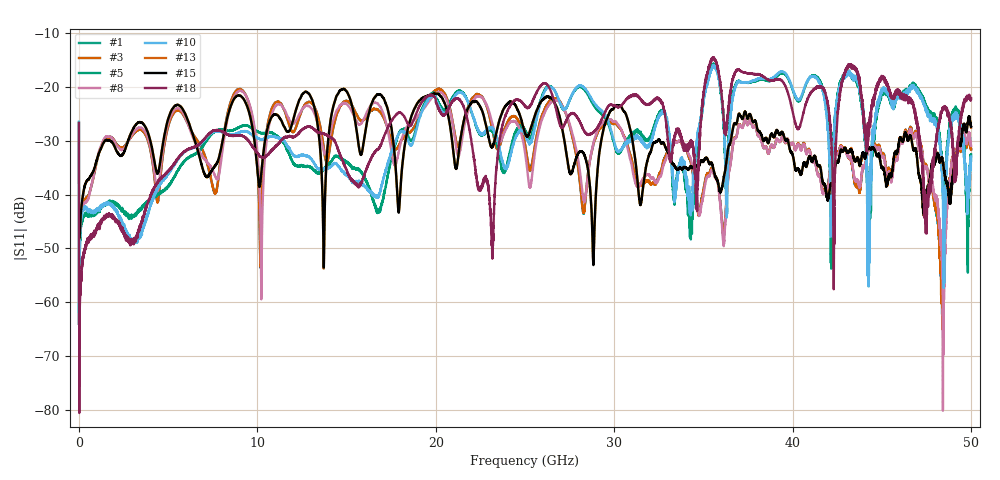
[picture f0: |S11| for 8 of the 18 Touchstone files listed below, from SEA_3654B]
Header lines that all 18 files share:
!Created with skrf (http://scikit-rf.org).
# Hz S RI R 50.0
!freq ReS11 ImS11
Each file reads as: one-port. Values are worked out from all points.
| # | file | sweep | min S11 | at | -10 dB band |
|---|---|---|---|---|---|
| 1 | 3654B_FF_3654B_MTERM1_8510C_mate1_swp0.s1p | 45 MHz to 50 GHz | -62.3 dB | 48.38 GHz | over 49.95 GHz wide |
| 2 | 3654B_FF_3654B_MTERM1_8510C_mate1_swp1.s1p | 45 MHz to 50 GHz | -60.3 dB | 48.39 GHz | over 49.95 GHz wide |
| 3 | 3654B_FF_3654B_MTERM1_8510C_mate1_swp2.s1p | 45 MHz to 50 GHz | -65.0 dB | 48.38 GHz | over 49.95 GHz wide |
| 4 | 3654B_FF_3654B_MTERM1_FieldFox_mate1_swp0.s1p | 300 kHz to 50 GHz | -63.3 dB | 42.16 GHz | over 50 GHz wide |
| 5 | 3654B_FF_3654B_MTERM1_FieldFox_mate1_swp1.s1p | 300 kHz to 50 GHz | -64.2 dB | 5.3 MHz | over 50 GHz wide |
| 6 | 3654B_FF_3654B_MTERM1_FieldFox_mate1_swp2.s1p | 300 kHz to 50 GHz | -63.4 dB | 5.3 MHz | over 50 GHz wide |
| 7 | 3654B_FF_3654B_MTERM2_8510C_mate1_swp0.s1p | 45 MHz to 50 GHz | -65.4 dB | 48.42 GHz | over 49.95 GHz wide |
| 8 | 3654B_FF_3654B_MTERM2_8510C_mate1_swp1.s1p | 45 MHz to 50 GHz | -80.1 dB | 48.42 GHz | over 49.95 GHz wide |
| 9 | 3654B_FF_3654B_MTERM2_8510C_mate1_swp2.s1p | 45 MHz to 50 GHz | -67.5 dB | 48.42 GHz | over 49.95 GHz wide |
| 10 | 3654B_FF_3654B_MTERM2_FieldFox_mate1_swp0.s1p | 300 kHz to 50 GHz | -62.0 dB | 5.3 MHz | over 50 GHz wide |
| 11 | 3654B_FF_3654B_MTERM2_FieldFox_mate1_swp1.s1p | 300 kHz to 50 GHz | -66.1 dB | 5.3 MHz | over 50 GHz wide |
| 12 | 3654B_FF_3654B_MTERM2_FieldFox_mate1_swp2.s1p | 300 kHz to 50 GHz | -64.4 dB | 5.3 MHz | over 50 GHz wide |
| 13 | 3654B_FF_85056A_MBBLOAD_8510C_mate1_swp0.s1p | 45 MHz to 50 GHz | -53.8 dB | 13.72 GHz | over 49.95 GHz wide |
| 14 | 3654B_FF_85056A_MBBLOAD_8510C_mate1_swp1.s1p | 45 MHz to 50 GHz | -54.7 dB | 13.72 GHz | over 49.95 GHz wide |
| 15 | 3654B_FF_85056A_MBBLOAD_8510C_mate1_swp2.s1p | 45 MHz to 50 GHz | -53.6 dB | 13.72 GHz | over 49.95 GHz wide |
| 16 | 3654B_FF_85056A_MBBLOAD_FieldFox_mate1_swp0.s1p | 300 kHz to 50 GHz | -66.3 dB | 35.3 MHz | over 50 GHz wide |
| 17 | 3654B_FF_85056A_MBBLOAD_FieldFox_mate1_swp1.s1p | 300 kHz to 50 GHz | -70.0 dB | 20.3 MHz | over 50 GHz wide |
| 18 | 3654B_FF_85056A_MBBLOAD_FieldFox_mate1_swp2.s1p | 300 kHz to 50 GHz | -80.6 dB | 20.3 MHz | over 50 GHz wide |
